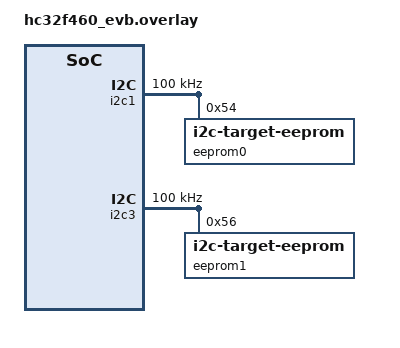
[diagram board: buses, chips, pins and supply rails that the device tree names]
/* SPDX-License-Identifier: Apache-2.0 */

&i2c1 {
	status = "okay";
	clock-frequency = < 100000 >;
	pinctrl-0 = <&i2c1_default>;
	pinctrl-names = "default";

	interrupts = < INT010_IRQn HC32_I2C1_EE_IRQ_PRIO INT_SRC_I2C1_EEI>,
				< INT011_IRQn HC32_I2C1_TE_IRQ_PRIO INT_SRC_I2C1_TEI>,
				< INT012_IRQn HC32_I2C1_TX_IRQ_PRIO INT_SRC_I2C1_TXI>,
				< INT013_IRQn HC32_I2C1_RX_IRQ_PRIO INT_SRC_I2C1_RXI>;

	eeprom0: eeprom@54 {
		compatible = "zephyr,i2c-target-eeprom";
		reg = <0x54>;
		size = <20>;
	};
};


&i2c3 {
	status = "okay";
	clock-frequency = < 100000 >;

	eeprom1: eeprom@56 {
		compatible = "zephyr,i2c-target-eeprom";
		reg = <0x56>;
		size = <20>;
	};
};

